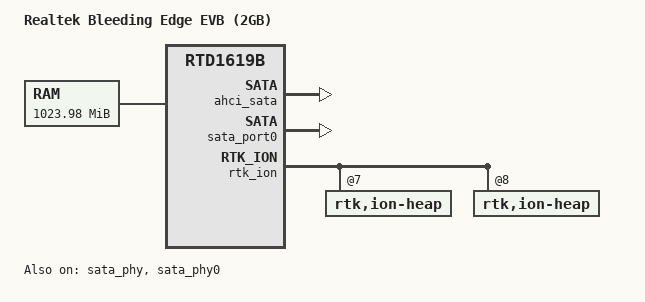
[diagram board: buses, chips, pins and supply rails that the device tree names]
// SPDX-License-Identifier: (GPL-2.0-or-later OR BSD-2-Clause)
/*
 * Copyright (c) 2020 Realtek Semiconductor Corp.
 */

/dts-v1/;

#include "rtd1619b-bleedingedge.dtsi"

/ {
	compatible = "realtek,bleeding-edge", "realtek,rtd1619b";
	model = "Realtek Bleeding Edge EVB (2GB)";

	memory@4000 {
		device_type = "memory";
		reg = <0x00004000 0x3fffc000>; /* 1 GiB */
	};

};

&pcie1 {
	status = "disabled";
};

&sata_phy {
	status = "okay";
};

&sata_phy0 {
	status = "okay";
};

&ahci_sata {
        status = "okay";
};

&sata_port0 {
        status = "okay";
};

&audio_heap {
	compatible = "audio_heap";
	reg = <0x04400000 0xc0000>;
};

&media_heap {
	compatible = "media_heap";
	reg = <0x04e00000 0x02000000>;
};

&cma_resrved_0 {
	status = "disabled";
};

&cma_resrved_1 {
	status = "disabled";
};

&cma_resrved_2 {
	size = <0x400000>;
	status = "disabled";
};

&cma_resrved_3 {
	size = <0xa000000>;
};

&cma_resrved_4 {
	status = "disabled";
};

&cma_resrved_5 {
	size = <0x800000>;
};

&cma_resrved_6 {
	size = <0x1c00000>;
};

&cma_resrved_7 {
	size = <0x400000>;
};

&cma_resrved_8 {
	size = <0x6000000>;
	status = "disabled";
};

&cma_resrved_9 {
	size = <0x4000000>;
	status = "disabled";
};

&rtk_ion {
	rtk,ion-heap@7 {
		rtk,memory-reserve = <0x04e00000 0x02000000 0x0000008e
				      0x00C40000 0x003C4000 0x000004ec>;
	};

	rtk,ion-heap@8 {
		rtk,memory-reserve = <0x04400000 0x000c0000 0x0000008e>;
	};
};

&reserved_memory {
	ramoops@22000000  {
		compatible = "ramoops";
		reg = <0x22000000 0x00200000>;
		console-size = <0x00100000>;
		record-size = <0x00004000>;
		ftrace-size = <0x00004000>;
	};
};
